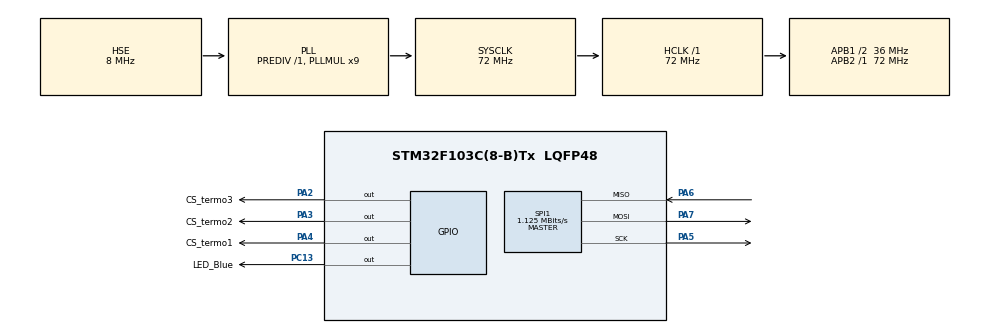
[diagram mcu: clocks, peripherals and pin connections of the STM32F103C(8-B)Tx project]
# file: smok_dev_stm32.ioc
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FREERTOS.Tasks01=defaultTask,0,128,StartDefaultTask,Default,NULL
Mcu.Family=STM32F1
Mcu.Name=STM32F103C(8-B)Tx
Mcu.Package=LQFP48
NVIC.PriorityGroup=NVIC_PRIORITYGROUP_4
NVIC.TIM1_UP_IRQn=true\:0\:0\:false\:false\:true\:false\:false
NVIC.TimeBase=TIM1_UP_IRQn
NVIC.TimeBaseIP=TIM1
PA13.Mode=Serial_Wire
PA13.Signal=SYS_JTMS-SWDIO
PA14.Mode=Serial_Wire
PA14.Signal=SYS_JTCK-SWCLK
PA2.GPIO_Label=CS_termo3
PA2.PinState=GPIO_PIN_SET
PA2.Signal=GPIO_Output
PA3.GPIO_Label=CS_termo2
PA3.PinState=GPIO_PIN_SET
PA3.Signal=GPIO_Output
PA4.GPIO_Label=CS_termo1
PA4.PinState=GPIO_PIN_SET
PA4.Signal=GPIO_Output
PA5.Mode=Full_Duplex_Master
PA5.Signal=SPI1_SCK
PA6.Mode=Full_Duplex_Master
PA6.Signal=SPI1_MISO
PA7.Mode=Full_Duplex_Master
PA7.Signal=SPI1_MOSI
PC13-TAMPER-RTC.GPIO_Label=LED_Blue
PC13-TAMPER-RTC.PinState=GPIO_PIN_SET
PC13-TAMPER-RTC.Signal=GPIO_Output
PD0-OSC_IN.Mode=HSE-External-Oscillator
PD0-OSC_IN.Signal=RCC_OSC_IN
PD1-OSC_OUT.Mode=HSE-External-Oscillator
PD1-OSC_OUT.Signal=RCC_OSC_OUT
ProjectManager.HeapSize=0x200
ProjectManager.StackSize=0x400
ProjectManager.TargetToolchain=EWARM V7
RCC.AHBFreq_Value=72000000
RCC.APB1CLKDivider=RCC_HCLK_DIV2
RCC.APB1Freq_Value=36000000
RCC.APB1TimFreq_Value=72000000
RCC.APB2Freq_Value=72000000
RCC.APB2TimFreq_Value=72000000
RCC.HCLKFreq_Value=72000000
RCC.PLLMUL=RCC_PLL_MUL9
RCC.PLLSourceVirtual=RCC_PLLSOURCE_HSE
RCC.SYSCLKFreq_VALUE=72000000
RCC.SYSCLKSource=RCC_SYSCLKSOURCE_PLLCLK
RCC.USBFreq_Value=72000000
SPI1.BaudRatePrescaler=SPI_BAUDRATEPRESCALER_64
SPI1.CalculateBaudRate=1.125 MBits/s
SPI1.Direction=SPI_DIRECTION_2LINES
SPI1.Mode=SPI_MODE_MASTER
SPI1.VirtualType=VM_MASTER
VP_FREERTOS_VS_ENABLE.Mode=Enabled
VP_SYS_VS_tim1.Mode=TIM1
board=custom

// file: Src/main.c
/* USER CODE BEGIN Header */
/**
  ******************************************************************************
  * @file           : main.c
  * @brief          : Main program body
  ******************************************************************************
  * This notice applies to any and all portions of this file
  * that are not between comment pairs USER CODE BEGIN and
  * USER CODE END. Other portions of this file, whether
  * inserted by the user or by software development tools
  * are owned by their respective copyright owners.
  *
  * Copyright (c) 2019 STMicroelectronics International N.V.
  * All rights reserved.
  *
  * Redistribution and use in source and binary forms, with or without
  * modification, are permitted, provided that the following conditions are met:
  *
  * 1. Redistribution of source code must retain the above copyright notice,
  *    this list of conditions and the following disclaimer.
  * 2. Redistributions in binary form must reproduce the above copyright notice,
  *    this list of conditions and the following disclaimer in the documentation
  *    and/or other materials provided with the distribution.
  * 3. Neither the name of STMicroelectronics nor the names of other
  *    contributors to this software may be used to endorse or promote products
  *    derived from this software without specific written permission.
  * 4. This software, including modifications and/or derivative works of this
  *    software, must execute solely and exclusively on microcontroller or
  *    microprocessor devices manufactured by or for STMicroelectronics.
  * 5. Redistribution and use of this software other than as permitted under
  *    this license is void and will automatically terminate your rights under
  *    this license.
  *
  * THIS SOFTWARE IS PROVIDED BY STMICROELECTRONICS AND CONTRIBUTORS "AS IS"
  * AND ANY EXPRESS, IMPLIED OR STATUTORY WARRANTIES, INCLUDING, BUT NOT
  * LIMITED TO, THE IMPLIED WARRANTIES OF MERCHANTABILITY, FITNESS FOR A
  * PARTICULAR PURPOSE AND NON-INFRINGEMENT OF THIRD PARTY INTELLECTUAL PROPERTY
  * RIGHTS ARE DISCLAIMED TO THE FULLEST EXTENT PERMITTED BY LAW. IN NO EVENT
  * SHALL STMICROELECTRONICS OR CONTRIBUTORS BE LIABLE FOR ANY DIRECT, INDIRECT,
  * INCIDENTAL, SPECIAL, EXEMPLARY, OR CONSEQUENTIAL DAMAGES (INCLUDING, BUT NOT
  * LIMITED TO, PROCUREMENT OF SUBSTITUTE GOODS OR SERVICES; LOSS OF USE, DATA,
  * OR PROFITS; OR BUSINESS INTERRUPTION) HOWEVER CAUSED AND ON ANY THEORY OF
  * LIABILITY, WHETHER IN CONTRACT, STRICT LIABILITY, OR TORT (INCLUDING
  * NEGLIGENCE OR OTHERWISE) ARISING IN ANY WAY OUT OF THE USE OF THIS SOFTWARE,
  * EVEN IF ADVISED OF THE POSSIBILITY OF SUCH DAMAGE.
  *
  ******************************************************************************
  */
/* USER CODE END Header */

#include "main.h"
#include "cmsis_os.h"
#include "spi.h"
#include "gpio.h"

void SystemClock_Config(void);
void MX_FREERTOS_Init(void);

int main(void)
{

  /* MCU Configuration--------------------------------------------------------*/

  /* Reset of all peripherals, Initializes the Flash interface and the Systick. */
  HAL_Init();

  /* Configure the system clock */
  SystemClock_Config();

  /* Initialize all configured peripherals */
  MX_GPIO_Init();
  MX_SPI1_Init();

  /* Call init function for freertos objects (in freertos.c) */
  MX_FREERTOS_Init();

  /* Start scheduler */
  osKernelStart();

  /* We should never get here as control is now taken by the scheduler */

  /* Infinite loop */
  while (1)
  {

  }
}

void SystemClock_Config(void)
{
  RCC_OscInitTypeDef RCC_OscInitStruct = {0};
  RCC_ClkInitTypeDef RCC_ClkInitStruct = {0};

  /**Initializes the CPU, AHB and APB busses clocks
  */
  RCC_OscInitStruct.OscillatorType = RCC_OSCILLATORTYPE_HSE;
  RCC_OscInitStruct.HSEState = RCC_HSE_ON;
  RCC_OscInitStruct.HSEPredivValue = RCC_HSE_PREDIV_DIV1;
  RCC_OscInitStruct.HSIState = RCC_HSI_ON;
  RCC_OscInitStruct.PLL.PLLState = RCC_PLL_ON;
  RCC_OscInitStruct.PLL.PLLSource = RCC_PLLSOURCE_HSE;
  RCC_OscInitStruct.PLL.PLLMUL = RCC_PLL_MUL9;
  if (HAL_RCC_OscConfig(&RCC_OscInitStruct) != HAL_OK)
  {
    Error_Handler();
  }
  /**Initializes the CPU, AHB and APB busses clocks
  */
  RCC_ClkInitStruct.ClockType = RCC_CLOCKTYPE_HCLK|RCC_CLOCKTYPE_SYSCLK
                              |RCC_CLOCKTYPE_PCLK1|RCC_CLOCKTYPE_PCLK2;
  RCC_ClkInitStruct.SYSCLKSource = RCC_SYSCLKSOURCE_PLLCLK;
  RCC_ClkInitStruct.AHBCLKDivider = RCC_SYSCLK_DIV1;
  RCC_ClkInitStruct.APB1CLKDivider = RCC_HCLK_DIV2;
  RCC_ClkInitStruct.APB2CLKDivider = RCC_HCLK_DIV1;

  if (HAL_RCC_ClockConfig(&RCC_ClkInitStruct, FLASH_LATENCY_2) != HAL_OK)
  {
    Error_Handler();
  }
}

void HAL_TIM_PeriodElapsedCallback(TIM_HandleTypeDef *htim)
{
  if (htim->Instance == TIM1) {
    HAL_IncTick();
  }
}

void Error_Handler(void)
{
}

/************************ (C) COPYRIGHT STMicroelectronics *****END OF FILE****/

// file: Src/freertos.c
/* USER CODE BEGIN Header */
/**
  ******************************************************************************
  * File Name          : freertos.c
  * Description        : Code for freertos applications
  ******************************************************************************
  * This notice applies to any and all portions of this file
  * that are not between comment pairs USER CODE BEGIN and
  * USER CODE END. Other portions of this file, whether
  * inserted by the user or by software development tools
  * are owned by their respective copyright owners.
  *
  * Copyright (c) 2019 STMicroelectronics International N.V.
  * All rights reserved.
  *
  * Redistribution and use in source and binary forms, with or without
  * modification, are permitted, provided that the following conditions are met:
  *
  * 1. Redistribution of source code must retain the above copyright notice,
  *    this list of conditions and the following disclaimer.
  * 2. Redistributions in binary form must reproduce the above copyright notice,
  *    this list of conditions and the following disclaimer in the documentation
  *    and/or other materials provided with the distribution.
  * 3. Neither the name of STMicroelectronics nor the names of other
  *    contributors to this software may be used to endorse or promote products
  *    derived from this software without specific written permission.
  * 4. This software, including modifications and/or derivative works of this
  *    software, must execute solely and exclusively on microcontroller or
  *    microprocessor devices manufactured by or for STMicroelectronics.
  * 5. Redistribution and use of this software other than as permitted under
  *    this license is void and will automatically terminate your rights under
  *    this license.
  *
  * THIS SOFTWARE IS PROVIDED BY STMICROELECTRONICS AND CONTRIBUTORS "AS IS"
  * AND ANY EXPRESS, IMPLIED OR STATUTORY WARRANTIES, INCLUDING, BUT NOT
  * LIMITED TO, THE IMPLIED WARRANTIES OF MERCHANTABILITY, FITNESS FOR A
  * PARTICULAR PURPOSE AND NON-INFRINGEMENT OF THIRD PARTY INTELLECTUAL PROPERTY
  * RIGHTS ARE DISCLAIMED TO THE FULLEST EXTENT PERMITTED BY LAW. IN NO EVENT
  * SHALL STMICROELECTRONICS OR CONTRIBUTORS BE LIABLE FOR ANY DIRECT, INDIRECT,
  * INCIDENTAL, SPECIAL, EXEMPLARY, OR CONSEQUENTIAL DAMAGES (INCLUDING, BUT NOT
  * LIMITED TO, PROCUREMENT OF SUBSTITUTE GOODS OR SERVICES; LOSS OF USE, DATA,
  * OR PROFITS; OR BUSINESS INTERRUPTION) HOWEVER CAUSED AND ON ANY THEORY OF
  * LIABILITY, WHETHER IN CONTRACT, STRICT LIABILITY, OR TORT (INCLUDING
  * NEGLIGENCE OR OTHERWISE) ARISING IN ANY WAY OUT OF THE USE OF THIS SOFTWARE,
  * EVEN IF ADVISED OF THE POSSIBILITY OF SUCH DAMAGE.
  *
  ******************************************************************************
  */
/* USER CODE END Header */

#include "FreeRTOS.h"
#include "task.h"
#include "main.h"
#include "cmsis_os.h"

/* USER CODE BEGIN Includes */
#include "max6675.h"
/* USER CODE END Includes */

/* USER CODE BEGIN Variables */
osThreadId ReadTempTaskHandle;
/* USER CODE END Variables */
osThreadId defaultTaskHandle;

/* USER CODE BEGIN FunctionPrototypes */
void StartReadTempTask(void const * argument);
/* USER CODE END FunctionPrototypes */

void StartDefaultTask(void const * argument);

void MX_FREERTOS_Init(void); /* (MISRA C 2004 rule 8.1) */

void MX_FREERTOS_Init(void) {

  /* Create the thread(s) */
  /* definition and creation of defaultTask */
  osThreadDef(defaultTask, StartDefaultTask, osPriorityNormal, 0, 128);
  defaultTaskHandle = osThreadCreate(osThread(defaultTask), NULL);

  /* USER CODE BEGIN RTOS_THREADS */
 osThreadDef(ReadTempTask, StartReadTempTask, osPriorityNormal, 0, 128);
 ReadTempTaskHandle = osThreadCreate(osThread(ReadTempTask), NULL);
  /* USER CODE END RTOS_THREADS */

}

void StartDefaultTask(void const * argument)
{

  /* USER CODE BEGIN StartDefaultTask */
  /* Infinite loop */
  for(;;)
  {
#if defined DEBUG
    printf("StartDefaultTask is working .. \r\n");
#endif
    HAL_GPIO_WritePin(GPIOC, LED_Blue_Pin, GPIO_PIN_RESET);
    osDelay(1000);
    HAL_GPIO_WritePin(GPIOC, LED_Blue_Pin, GPIO_PIN_SET);
    osDelay(1000);
  }
  /* USER CODE END StartDefaultTask */
}

/* USER CODE BEGIN Application */
 void StartReadTempTask(void const * argument)
{
 #if defined DEBUG
    printf("StartReadTempTask is working .. \r\n");
#endif
  uint8_t answer = 0;
  uint16_t reg = 0;
  float temper = 0;
  uint8_t i;

  /* USER CODE BEGIN StartReadTempTask */
  /* Infinite loop */
  for(;;)
  {
	  i = 1;
	  while(i <= 3)
	  {
			#if defined DEBUG
				printf("read max6675 #%i .. \r\n", i);
			#endif
			answer = max6675ReadReg(&reg, i);
			if(answer == MAX6675_OK)
			{
			#if defined DEBUG
				printf("MAX6675_OK\r\n");
			#endif
			temper = max6675Temp(reg);

			#if defined DEBUG
				printf("temperature Sensor#%i = %0.2f\r\n", i, temper);
			#endif
			}
			answer = 0;
			reg = 0;
			temper = 0;
			osDelay(3000);
			i++;
	  }
  }
  /* USER CODE END StartReadTempTask */
}
/* USER CODE END Application */

/************************ (C) COPYRIGHT STMicroelectronics *****END OF FILE****/
